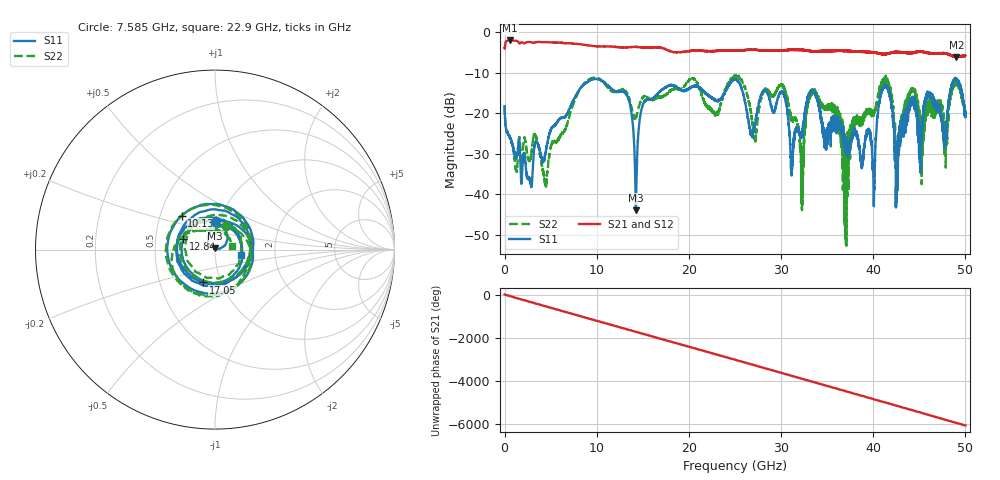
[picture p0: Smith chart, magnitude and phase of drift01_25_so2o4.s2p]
!Created with skrf (http://scikit-rf.org).
# Hz S RI R 50.0
!freq ReS11 ImS11 ReS21 ImS21 ReS12 ImS12 ReS22 ImS22
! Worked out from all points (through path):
!   10001 points, 300 kHz to 50 GHz, reference 50 ohm
!   highest |S21| = -2.00 dB at 595.3 MHz (marker M1); lowest = -6.1 dB at 49.04 GHz (marker M2)
!   group delay of S21, straight-line fit = 336 ps
!   lowest |S11| = -43.9 dB at 14.25 GHz (marker M3), VSWR 1.01, Z = 50 + j0.637 ohm
!   |S11| at or under -10 dB: start of sweep to end of sweep
!   |S22| runs from -52.8 to -10.6 dB; largest |S21 - S12| = 0.018
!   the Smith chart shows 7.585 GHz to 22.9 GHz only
!   S11 on the Smith chart (normalised r, x): 7.585 GHz: 0.95, +0.30; 10.13 GHz: 0.65, +0.26; 12.84 GHz: 0.70, +0.08; 17.05 GHz: 0.82, -0.31; 22.9 GHz: 1.33, -0.08
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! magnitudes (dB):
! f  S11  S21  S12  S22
! 300 kHz  -18.3  -3.9  -4.0  -17.9
! 595.3 MHz  -26.0  -2.0  -2.0  -26.1
! 4.435 GHz  -29.8  -2.4  -2.4  -37.3
! 7.585 GHz  -16.2  -2.8  -2.8  -16.9
! 8.335 GHz  -13.5  -3.0  -3.0  -13.5
! 10.13 GHz  -11.6  -3.5  -3.5  -11.4
! 12.84 GHz  -14.7  -3.7  -3.8  -14.1
! 14.25 GHz  -43.9  -3.6  -3.6  -21.1
! 16.67 GHz  -14.9  -3.7  -3.7  -15.9
! 17.05 GHz  -14.2  -3.8  -3.8  -16.1
! 22.9 GHz  -16.7  -4.6  -4.6  -20.0
! 25 GHz  -11.6  -4.5  -4.6  -10.9
! 27.15 GHz  -22.7  -4.3  -4.3  -26.1
! 30.2 GHz  -15.1  -4.5  -4.5  -13.3
! 32.25 GHz  -25.0  -4.4  -4.3  -38.1
! 33.34 GHz  -14.3  -4.7  -4.6  -14.5
! 37.03 GHz  -26.9  -4.5  -4.6  -32.6
! 40.06 GHz  -42.8  -5.0  -5.0  -20.4
! 41.67 GHz  -14.3  -5.1  -5.1  -12.6
! 42.56 GHz  -31.6  -4.9  -4.9  -28.0
! 49.04 GHz  -11.5  -6.1  -6.0  -12.4
! 50 GHz  -20.0  -5.8  -5.8  -19.6
